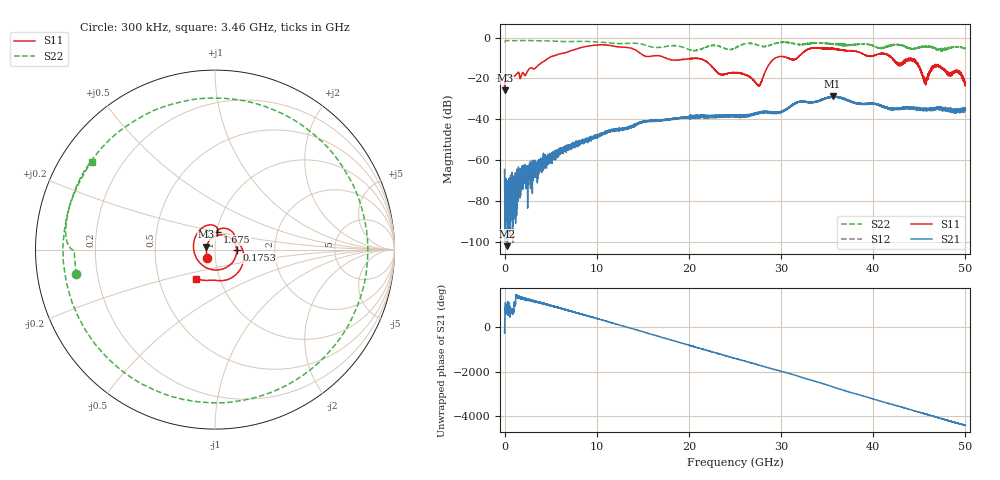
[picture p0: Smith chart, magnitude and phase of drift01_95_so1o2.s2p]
!Created with skrf (http://scikit-rf.org).
# Hz S RI R 50.0
!freq ReS11 ImS11 ReS21 ImS21 ReS12 ImS12 ReS22 ImS22
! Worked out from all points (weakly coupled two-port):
!   10001 points, 300 kHz to 50 GHz, reference 50 ohm
!   highest |S21| = -28.73 dB at 35.59 GHz (marker M1); lowest = -102.2 dB at 310.3 MHz (marker M2)
!   lowest |S11| = -25.8 dB at 5.3 MHz (marker M3), VSWR 1.11, Z = 45.3 + j1.41 ohm
!   |S11| at or under -10 dB: start of sweep to 4.771 GHz; 17.52 GHz to 29.4 GHz (11.88 GHz wide, 50.6 % of centre); 44.01 GHz to end of sweep (the widest 3 of 14)
!   |S22| runs from -6.6 to -1.4 dB; largest |S21 - S12| = 0.0043
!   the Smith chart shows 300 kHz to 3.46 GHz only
!   S11 on the Smith chart (normalised r, x): 300 kHz: 0.91, -0.09; 175.3 MHz: 1.27, -0.01; 1.675 GHz: 1.01, +0.20; 3.46 GHz: 0.77, -0.26
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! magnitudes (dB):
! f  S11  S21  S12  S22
! 300 kHz  -23.5  -65.1  -64.2  -2.1
! 5.3 MHz  -25.8  -69.7  -75.4  -2.1
! 175.3 MHz  -18.4  -73.5  -75.0  -1.4
! 310.3 MHz  -18.3  -102.2  -71.7  -1.4
! 1.675 GHz  -20.1  -70.7  -71.6  -1.4
! 3.46 GHz  -14.3  -62.6  -62.0  -1.5
! 8.335 GHz  -4.8  -51.6  -50.7  -1.8
! 16.67 GHz  -8.8  -40.6  -40.7  -4.8
! 21.22 GHz  -10.3  -38.5  -38.2  -5.7
! 23.39 GHz  -17.9  -38.7  -38.7  -4.4
! 25 GHz  -17.1  -38.1  -38.5  -5.1
! 27.59 GHz  -23.5  -36.6  -36.8  -3.8
! 29.28 GHz  -10.3  -36.8  -36.9  -2.9
! 31.45 GHz  -10.8  -32.4  -32.4  -3.0
! 33.34 GHz  -5.1  -31.5  -31.7  -2.7
! 35.59 GHz  -5.3  -28.7  -28.9  -2.8
! 41.67 GHz  -8.8  -34.5  -34.7  -4.3
! 42.74 GHz  -12.5  -34.9  -34.9  -3.3
! 44.44 GHz  -11.0  -34.3  -34.6  -5.2
! 45.63 GHz  -20.8  -35.0  -35.2  -4.3
! 46.93 GHz  -13.4  -35.2  -34.4  -5.3
! 50 GHz  -21.8  -35.7  -35.3  -5.4
